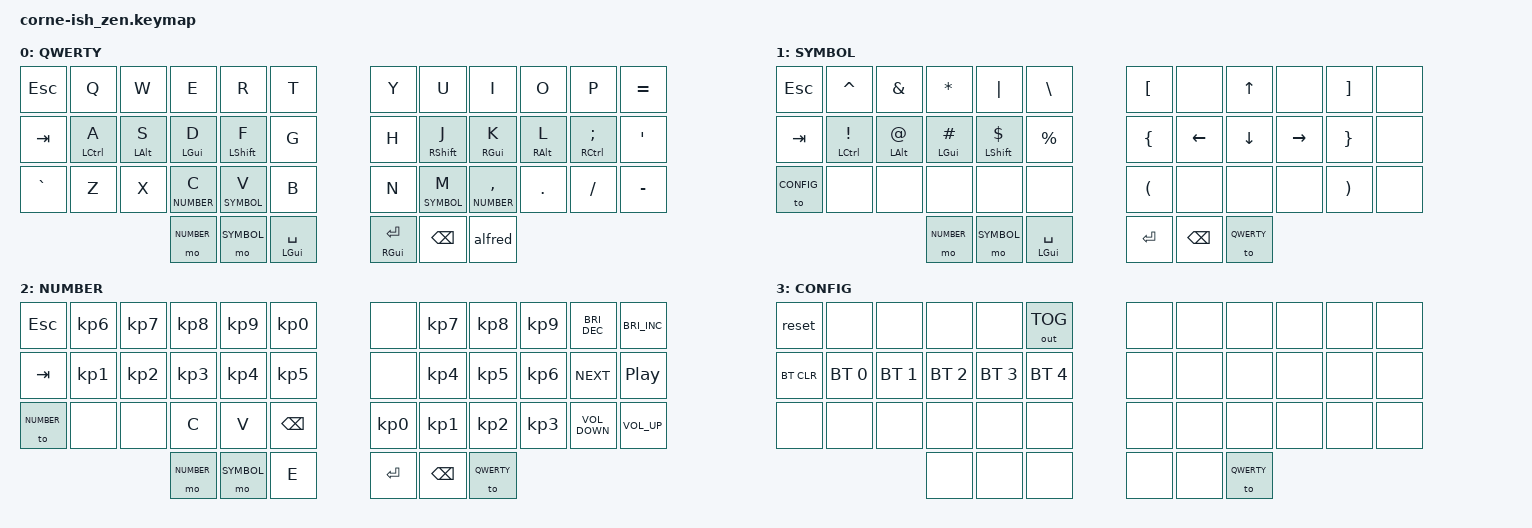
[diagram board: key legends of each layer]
/*
*
* Copyright (c) 2021 lowprokb.ca
* SPDX-License-Identifier: MIT
*
*/

#include <behaviors.dtsi>
#include <dt-bindings/zmk/keys.h>
#include <dt-bindings/zmk/bt.h>
#include <dt-bindings/zmk/outputs.h>

#define QWERTY 0
#define SYMBOL 1
#define NUMBER 2
#define CONFIG 3


/ {
        behaviors {
                hm: homerow_mods {
                compatible = "zmk,behavior-hold-tap";
                label = "HOMEROW_MODS";
                #binding-cells = <2>;
                tapping-term-ms = <150>;
                quick_tap_ms = <0>;
                flavor = "tap-preferred";
                bindings = <&kp>, <&kp>;
                };
        };

        macros {
                alfred: alfred {
                        label = "ALFRED";
                        compatible = "zmk,behavior-macro";
                        #binding-cells = <0>;
                        wait-ms = <40>;
                        tap-ms = <40>;
                        bindings
                        = <&macro_press &kp LALT &kp SPACE>
                        , <&macro_pause_for_release>
                        , <&macro_release &kp LALT &kp SPACE>
                        ;
                };
        };

        keymap {
                compatible = "zmk,keymap";

                default_layer {
                        label = "QWERTY";
                        bindings = <
        &kp ESC    &kp Q        &kp W       &kp E         &kp R         &kp T           &kp Y  &kp U          &kp I             &kp O       &kp P                &kp EQUAL
        &kp TAB    &hm LCTRL A  &hm LALT S  &hm LGUI D    &hm LSHIFT F  &kp G           &kp H  &hm RSHIFT J   &hm RGUI K        &hm RALT L  &hm RCTRL SEMICOLON  &kp SINGLE_QUOTE
        &kp GRAVE  &kp Z        &kp X       &lt NUMBER C  &lt SYMBOL V  &kp B           &kp N  &lt SYMBOL M   &lt NUMBER COMMA  &kp DOT     &kp FSLH             &kp MINUS
                                            &mo NUMBER    &mo SYMBOL    &hm LGUI SPACE  &hm RGUI ENTER        &kp BACKSPACE     &alfred
                        >;
                };

                SYMBOL_layer {
                        label = "SYMBOL";
                        bindings = <
        &kp ESC     &kp CARET              &kp AMPERSAND  &kp ASTERISK   &kp PIPE          &kp BACKSLASH      &kp LEFT_BRACKET      &none     &kp UP    &none      &kp RIGHT_BRACKET      &none
        &kp TAB     &hm LCTRL EXCLAMATION  &hm LALT AT    &hm LGUI HASH  &hm LSHIFT DOLLAR &kp PERCENT        &kp LEFT_BRACE        &kp LEFT  &kp DOWN  &kp RIGHT  &kp RIGHT_BRACE        &none
        &to CONFIG  &none                  &none          &none          &none             &none              &kp LEFT_PARENTHESIS  &none     &none     &none      &kp RIGHT_PARENTHESIS  &none
                                                          &mo NUMBER     &mo SYMBOL        &hm LGUI SPACE     &kp ENTER             &kp BACKSPACE  &to QWERTY
                        >;
                };

                NUMBER_layer {
                        label = "NUMBER";
                        bindings = < 
        &kp ESC      &kp KP_N6  &kp KP_N7  &kp KP_N8   &kp KP_N9   &kp KP_N0      &none      &kp KP_N7      &kp KP_N8  &kp KP_N9  &kp C_BRIGHTNESS_DEC  &kp C_BRIGHTNESS_INC
        &kp TAB      &kp KP_N1  &kp KP_N2  &kp KP_N3   &kp KP_N4   &kp KP_N5      &none      &kp KP_N4      &kp KP_N5  &kp KP_N6  &kp C_NEXT            &kp C_PLAY_PAUSE
        &to NUMBER   &none      &none      &kp C       &kp V       &kp BACKSPACE  &kp KP_N0  &kp KP_N1      &kp KP_N2  &kp KP_N3  &kp C_VOLUME_DOWN     &kp C_VOLUME_UP
                                           &mo NUMBER  &mo SYMBOL  &kp E          &kp ENTER  &kp BACKSPACE  &to QWERTY
                        >;
                };

                config_layer {
                        label = "CONFIG";
                        bindings = <
        &reset     &none        &none        &none        &none        &out OUT_TOG    &none &none &none       &none &none &none 
        &bt BT_CLR &bt BT_SEL 0 &bt BT_SEL 1 &bt BT_SEL 2 &bt BT_SEL 3 &bt BT_SEL 4    &none &none &none       &none &none &none
        &none      &none        &none        &none        &none        &none           &none &none &none       &none &none &none
                                             &none        &none        &none           &none &none &to QWERTY
                        >;
                };
        };
};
